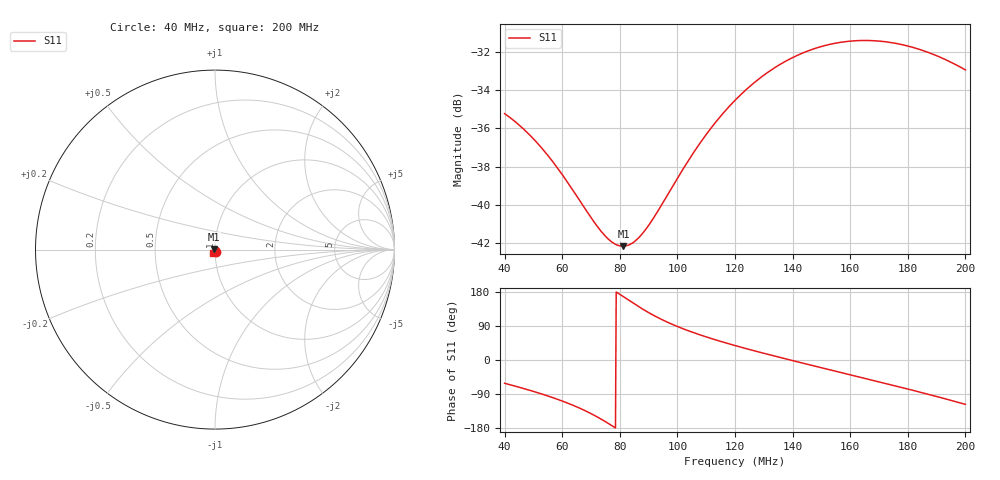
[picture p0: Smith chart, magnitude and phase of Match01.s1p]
# Hz S RI R 50
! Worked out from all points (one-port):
!   641 points, 40 MHz to 200 MHz, reference 50 ohm
!   lowest |S11| = -42.1 dB at 81.25 MHz (marker M1), VSWR 1.02, Z = 49.2 + j0.174 ohm
!   |S11| at or under -10 dB: start of sweep to end of sweep
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4e7  0.00829 -0.0152
4.45e7  0.00538 -0.0154
4.975e7  0.00201 -0.0148
5.475e7  -0.001 -0.0135
6e7  -0.00376 -0.0114
6.975e7  -0.0072 -0.00594
7.325e7  -0.00777 -0.00365
7.675e7  -0.00796 -0.00129
8e7  -0.00777 0.000923
8.125e7  -0.00761 0.00176
8.45e7  -0.00695 0.0039
8.825e7  -0.00578 0.00623
9.225e7  -0.00408 0.00845
1e8  0.000327 0.0117
1.0525e8  0.00393 0.013
1.1025e8  0.0076 0.0134
1.15e8  0.0112 0.0129
1.2e8  0.0147 0.0116
1.2475e8  0.0179 0.00959
1.2975e8  0.0207 0.00679
1.3475e8  0.0228 0.00338
1.4e8  0.0242 -0.00068
1.5e8  0.0243 -0.00901
1.6e8  0.0208 -0.0168
1.7e8  0.0144 -0.0226
1.8e8  0.00604 -0.0253
1.895e8  -0.00226 -0.0245
2e8  -0.0102 -0.0201
